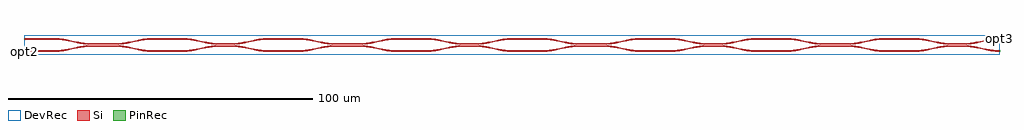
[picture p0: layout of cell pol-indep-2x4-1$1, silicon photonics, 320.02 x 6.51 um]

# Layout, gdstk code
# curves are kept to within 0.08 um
import gdstk
lib = gdstk.Library(unit=1e-6, precision=1e-09)
def R(c, l, rs):  # rectangles x0, y0, x1, y1
    for r in rs: c.add(gdstk.rectangle(r[:2], r[2:], *l))
def P(c, l, *ps):  # polygons
    for p in ps: c.add(gdstk.Polygon(p, *l))
Si = (1, 0)
PinRec = (1, 10)
DevRec = (68, 0)

layer_0_0_phase_sec_0_3 = lib.new_cell('layer-0_0_phase_sec_0$3')
P(layer_0_0_phase_sec_0_3, Si, [(0,-0.225),(0,0.225),(10,0.225),(10,-0.225)])

layer_0_0_phase_sec_1_3 = lib.new_cell('layer-0_0_phase_sec_1$3')
P(layer_0_0_phase_sec_1_3, Si, [(0,-0.225),(0,0.225),(10,0.225),(10,-0.225)])

dc_arm_up_8_3 = lib.new_cell('dc_arm_up_8$3')
R(dc_arm_up_8_3, Si, [(12,0.1,20,0.55)])
P(dc_arm_up_8_3, Si, [(12,0.1),(10.861,0.137),(9.344,0.292),(2.966,1.532),(1.481,1.712),(0,1.775),(0,2.225),(1.139,2.188),(2.656,2.033),(9.034,0.793),(10.519,0.613),(12,0.55)],
  [(20,0.1),(20,0.55),(21.481,0.613),(22.966,0.793),(29.344,2.033),(30.861,2.188),(32,2.225),(32,1.775),(30.519,1.712),(29.034,1.532),(22.656,0.292),(21.139,0.137)])

dc_arm_down_8_3 = lib.new_cell('dc_arm_down_8$3')
R(dc_arm_down_8_3, Si, [(12,-0.55,20,-0.1)])
P(dc_arm_down_8_3, Si, [(0,-2.225),(0,-1.775),(1.481,-1.712),(2.966,-1.532),(9.344,-0.292),(10.861,-0.137),(12,-0.1),(12,-0.55),(10.519,-0.613),(9.034,-0.793),(2.656,-2.033),(1.139,-2.188)],
  [(32,-2.225),(30.861,-2.188),(29.344,-2.033),(22.966,-0.793),(21.481,-0.613),(20,-0.55),(20,-0.1),(21.139,-0.137),(22.656,-0.292),(29.034,-1.532),(30.519,-1.712),(32,-1.775)])

dc_8_3 = lib.new_cell('dc_8$3')
dc_8_3.add(gdstk.Reference(dc_arm_up_8_3, (0,0)))
dc_8_3.add(gdstk.Reference(dc_arm_down_8_3, (0,0)))

layer_0_0_phase_sec_2_3 = lib.new_cell('layer-0_0_phase_sec_2$3')
P(layer_0_0_phase_sec_2_3, Si, [(3.232,-0.237),(0,-0.225),(0,0.225),(10,0.225),(10,-0.225)])

layer_0_0_phase_sec_3_3 = lib.new_cell('layer-0_0_phase_sec_3$3')
P(layer_0_0_phase_sec_3_3, Si, [(0,-0.225),(0,0.225),(10,0.225),(10,-0.225)])

dc_arm_up_4_3 = lib.new_cell('dc_arm_up_4$3')
R(dc_arm_up_4_3, Si, [(12,0.1,16,0.55)])
P(dc_arm_up_4_3, Si, [(12,0.1),(10.861,0.137),(9.344,0.292),(2.966,1.532),(1.481,1.712),(0,1.775),(0,2.225),(1.139,2.188),(2.656,2.033),(9.034,0.793),(10.519,0.613),(12,0.55)],
  [(16,0.1),(16,0.55),(17.481,0.613),(18.966,0.793),(25.344,2.033),(26.861,2.188),(28,2.225),(28,1.775),(26.519,1.712),(25.034,1.532),(18.656,0.292),(17.139,0.137)])

dc_arm_down_4_3 = lib.new_cell('dc_arm_down_4$3')
R(dc_arm_down_4_3, Si, [(12,-0.55,16,-0.1)])
P(dc_arm_down_4_3, Si, [(0,-2.225),(0,-1.775),(1.481,-1.712),(2.966,-1.532),(9.344,-0.292),(10.861,-0.137),(12,-0.1),(12,-0.55),(10.519,-0.613),(9.034,-0.793),(2.656,-2.033),(1.139,-2.188)],
  [(28,-2.225),(26.861,-2.188),(25.344,-2.033),(18.966,-0.793),(17.481,-0.613),(16,-0.55),(16,-0.1),(17.139,-0.137),(18.656,-0.292),(25.034,-1.532),(26.519,-1.712),(28,-1.775)])

dc_4_3 = lib.new_cell('dc_4$3')
dc_4_3.add(gdstk.Reference(dc_arm_up_4_3, (0,0)))
dc_4_3.add(gdstk.Reference(dc_arm_down_4_3, (0,0)))

layer_1_0_phase_sec_0_3 = lib.new_cell('layer-1_0_phase_sec_0$3')
P(layer_1_0_phase_sec_0_3, Si, [(6.464,-0.227),(0,-0.225),(0,0.225),(10,0.225),(10,-0.225)])

layer_1_0_phase_sec_1_3 = lib.new_cell('layer-1_0_phase_sec_1$3')
P(layer_1_0_phase_sec_1_3, Si, [(3.231,-0.231),(0,-0.225),(0,0.225),(10,0.225),(10,-0.225)])

layer_1_0_phase_sec_2_3 = lib.new_cell('layer-1_0_phase_sec_2$3')
P(layer_1_0_phase_sec_2_3, Si, [(6.537,-0.25),(0,-0.225),(0,0.225),(10,0.225),(10,-0.225)])

layer_1_0_phase_sec_3_3 = lib.new_cell('layer-1_0_phase_sec_3$3')
P(layer_1_0_phase_sec_3_3, Si, [(0,-0.225),(0,0.225),(10,0.225),(10,-0.225)])

layer_2_0_phase_sec_0_3 = lib.new_cell('layer-2_0_phase_sec_0$3')
P(layer_2_0_phase_sec_0_3, Si, [(0,-0.225),(0,0.225),(10,0.225),(10,-0.225)])

layer_2_0_phase_sec_1_3 = lib.new_cell('layer-2_0_phase_sec_1$3')
P(layer_2_0_phase_sec_1_3, Si, [(6.445,-0.237),(0,-0.225),(0,0.225),(10,0.225),(10,-0.225)])

layer_2_0_phase_sec_2_3 = lib.new_cell('layer-2_0_phase_sec_2$3')
P(layer_2_0_phase_sec_2_3, Si, [(6.449,-0.23),(0,-0.225),(0,0.225),(10,0.225),(10,-0.225)])

layer_2_0_phase_sec_3_3 = lib.new_cell('layer-2_0_phase_sec_3$3')
P(layer_2_0_phase_sec_3_3, Si, [(6.459,-0.24),(0,-0.225),(0,0.225),(10,0.225),(10,-0.225)])

layer_3_0_phase_sec_0_3 = lib.new_cell('layer-3_0_phase_sec_0$3')
P(layer_3_0_phase_sec_0_3, Si, [(0,-0.225),(0,0.225),(10,0.225),(10,-0.225)])

layer_3_0_phase_sec_1_3 = lib.new_cell('layer-3_0_phase_sec_1$3')
P(layer_3_0_phase_sec_1_3, Si, [(3.262,-0.262),(0,-0.225),(0,0.225),(10,0.225),(10,-0.225)])

layer_3_0_phase_sec_2_3 = lib.new_cell('layer-3_0_phase_sec_2$3')
P(layer_3_0_phase_sec_2_3, Si, [(3.236,-0.245),(0,-0.225),(0,0.225),(10,0.225),(10,-0.225)])

layer_3_0_phase_sec_3_3 = lib.new_cell('layer-3_0_phase_sec_3$3')
P(layer_3_0_phase_sec_3_3, Si, [(0,-0.225),(0,0.225),(10,0.225),(10,-0.225)])

pol_indep_2x4_1_1 = lib.new_cell('pol-indep-2x4-1$1')
R(pol_indep_2x4_1_1, DevRec, [(0,-1,320,5.512)])
pol_indep_2x4_1_1.add(gdstk.FlexPath([(0.01,0.262),(-0.01,0.262)], 0.45, ends="flush", simple_path=True, layer=1, datatype=10))  # PinRec
pol_indep_2x4_1_1.add(gdstk.FlexPath([(0.01,4.262),(-0.01,4.262)], 0.45, ends="flush", simple_path=True, layer=1, datatype=10))  # PinRec
pol_indep_2x4_1_1.add(gdstk.FlexPath([(319.99,4.262),(320.01,4.262)], 0.45, ends="flush", simple_path=True, layer=1, datatype=10))  # PinRec
pol_indep_2x4_1_1.add(gdstk.FlexPath([(319.99,0.262),(320.01,0.262)], 0.45, ends="flush", simple_path=True, layer=1, datatype=10))  # PinRec
pol_indep_2x4_1_1.add(gdstk.Reference(layer_0_0_phase_sec_0_3, (0,4.262)))
pol_indep_2x4_1_1.add(gdstk.Reference(layer_0_0_phase_sec_1_3, (0,0.262)))
pol_indep_2x4_1_1.add(gdstk.Reference(dc_8_3, (10,2.262)))
pol_indep_2x4_1_1.add(gdstk.Reference(layer_0_0_phase_sec_2_3, (42,4.262)))
pol_indep_2x4_1_1.add(gdstk.Reference(layer_0_0_phase_sec_3_3, (42,0.262)))
pol_indep_2x4_1_1.add(gdstk.Reference(dc_4_3, (52,2.262)))
pol_indep_2x4_1_1.add(gdstk.Reference(layer_1_0_phase_sec_0_3, (80,4.262)))
pol_indep_2x4_1_1.add(gdstk.Reference(layer_1_0_phase_sec_1_3, (80,0.262)))
pol_indep_2x4_1_1.add(gdstk.Reference(dc_8_3, (90,2.262)))
pol_indep_2x4_1_1.add(gdstk.Reference(layer_1_0_phase_sec_2_3, (122,4.262)))
pol_indep_2x4_1_1.add(gdstk.Reference(layer_1_0_phase_sec_3_3, (122,0.262)))
pol_indep_2x4_1_1.add(gdstk.Reference(dc_4_3, (132,2.262)))
pol_indep_2x4_1_1.add(gdstk.Reference(layer_2_0_phase_sec_0_3, (160,4.262)))
pol_indep_2x4_1_1.add(gdstk.Reference(layer_2_0_phase_sec_1_3, (160,0.262)))
pol_indep_2x4_1_1.add(gdstk.Reference(dc_8_3, (170,2.262)))
pol_indep_2x4_1_1.add(gdstk.Reference(layer_2_0_phase_sec_2_3, (202,4.262)))
pol_indep_2x4_1_1.add(gdstk.Reference(layer_2_0_phase_sec_3_3, (202,0.262)))
pol_indep_2x4_1_1.add(gdstk.Reference(dc_4_3, (212,2.262)))
pol_indep_2x4_1_1.add(gdstk.Reference(layer_3_0_phase_sec_0_3, (240,4.262)))
pol_indep_2x4_1_1.add(gdstk.Reference(layer_3_0_phase_sec_1_3, (240,0.262)))
pol_indep_2x4_1_1.add(gdstk.Reference(dc_8_3, (250,2.262)))
pol_indep_2x4_1_1.add(gdstk.Reference(layer_3_0_phase_sec_2_3, (282,4.262)))
pol_indep_2x4_1_1.add(gdstk.Reference(layer_3_0_phase_sec_3_3, (282,0.262)))
pol_indep_2x4_1_1.add(gdstk.Reference(dc_4_3, (292,2.262)))
pol_indep_2x4_1_1.add(gdstk.Label('opt2', (0,0.262), layer=1, texttype=10))
pol_indep_2x4_1_1.add(gdstk.Label('opt1', (0,4.262), layer=1, texttype=10))
pol_indep_2x4_1_1.add(gdstk.Label('opt3', (320,4.262), layer=1, texttype=10))
pol_indep_2x4_1_1.add(gdstk.Label('opt4', (320,0.262), layer=1, texttype=10))

lib.write_gds('pol-indep-2x4-1_1.gds')
